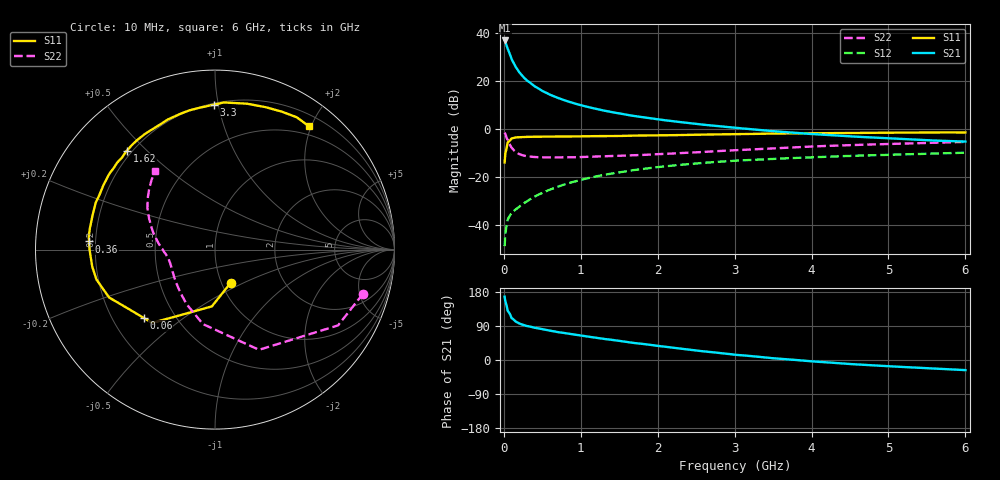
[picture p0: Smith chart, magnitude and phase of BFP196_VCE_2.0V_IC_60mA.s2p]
! Infineon Technologies  Discrete & RF Semiconductors
! BFP196
! VCE = 2.0 V,  IC =  60mA
! Common Emitter S-Parameters:  Jan 2016
# GHz  S  MA  R  50
!  f  S11  S21  S12  S22
! GHz  MAG  ANG  MAG  ANG  MAG  ANG  MAG  ANG
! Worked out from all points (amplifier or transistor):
!   210 points, 10 MHz to 6 GHz, reference 50 ohm
!   highest |S21| = 37.1 dB at 10 MHz (marker M1)
!   |S21| within 3 dB of that: start of sweep to 44.66 MHz
!   unconditionally stable (mu >= 1): 393.9 MHz to 4.87 GHz
!   at 185 MHz: K = 0.79, MSG = 28.6 dB, |S12| = -32.6 dB
!   at 1.52 GHz: K = 1.09, MAG = 10.3 dB, |S12| = -17.8 dB
!   at 6 GHz: K = 0.99, MSG = 2.3 dB, |S12| = -9.7 dB
!   S11 on the Smith chart (normalised r, x): 10 MHz: 1.10, -0.43; 60 MHz: 0.33, -0.36; 360 MHz: 0.17, +0.03; 1.62 GHz: 0.18, +0.44; 3.3 GHz: 0.21, +0.97; 6 GHz: 0.36, +1.97
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0.01  0.2047 -64.8  71.22 167.1  0.0037 78.7  0.8605 -16.6
0.02  0.317 -93.2  65.97 154.5  0.0068 68.9  0.8055 -31.6
0.05  0.5379 -130.6  48.06 129.9  0.0132 53.3  0.6098 -66.3
0.06  0.5504 -136.3  43.99 127.4  0.0142 52.4  0.5603 -71.0
0.1  0.6476 -155.7  29.15 110.8  0.0182 49.6  0.4204 -99.2
0.15  0.6815 -165.9  20.37 101.8  0.0213 51.2  0.3429 -117.5
0.2  0.6905 -172.1  15.55 96.3  0.0245 55.0  0.3065 -129.3
0.24  0.6928 -175.9  13.07 93.4  0.0275 56.2  0.2904 -136.3
0.3  0.6992 179.9  10.45 89.7  0.0318 59.9  0.2774 -144.0
0.36  0.703 176.3  8.923 87.3  0.0367 61.5  0.2699 -149.0
0.4  0.707 174.0  7.914 85.1  0.0399 62.4  0.266 -152.4
0.5  0.7072 170.0  6.333 81.2  0.0476 63.6  0.262 -158.0
0.6  0.7081 165.6  5.284 77.4  0.0558 64.3  0.2607 -161.6
0.8  0.714 158.4  3.979 70.7  0.0726 63.4  0.2623 -166.7
1.02  0.7175 150.3  3.133 64.0  0.0902 61.9  0.266 -170.7
1.62  0.7383 131.6  1.986 47.0  0.1371 53.8  0.2875 -178.6
2.02  0.7535 120.5  1.606 36.8  0.1653 48.0  0.3063 176.2
3.1  0.7986 94.1  1.048 12.4  0.2267 31.8  0.3748 160.6
3.3  0.8081 90.3  0.981 8.7  0.2352 28.9  0.3893 157.7
4.1  0.8332 76.1  0.784 -4.8  0.2664 18.9  0.4473 147.3
5.1  0.8561 62.8  0.64 -17.5  0.2997 7.6  0.5027 136.5
6  0.8638 52.7  0.558 -26.7  0.3275 -2.4  0.55 127.3
